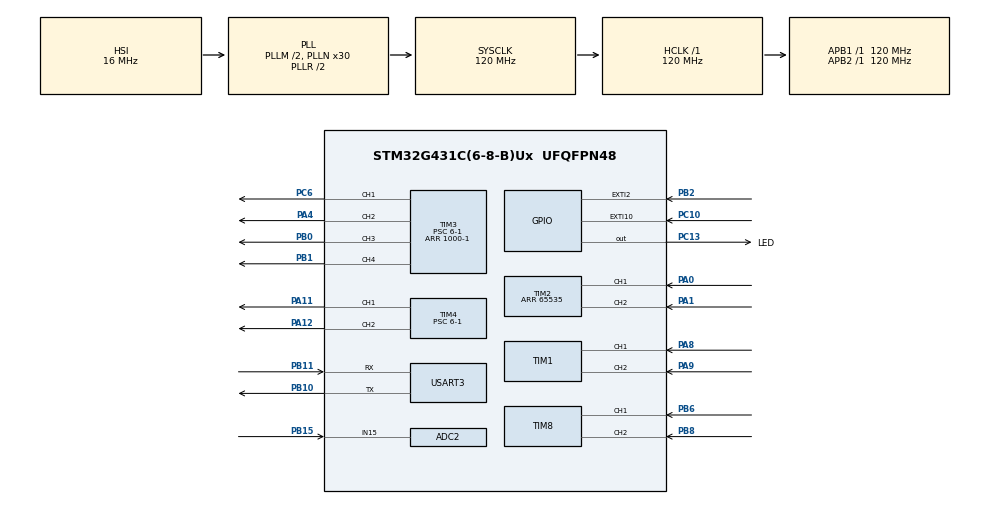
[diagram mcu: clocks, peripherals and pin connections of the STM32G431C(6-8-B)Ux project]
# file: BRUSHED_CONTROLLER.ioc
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ADC2.Channel-0\#ChannelRegularConversion=ADC_CHANNEL_15
ADC2.NbrOfConversionFlag=1
ADC2.OffsetNumber-0\#ChannelRegularConversion=ADC_OFFSET_NONE
ADC2.Rank-0\#ChannelRegularConversion=1
ADC2.SamplingTime-0\#ChannelRegularConversion=ADC_SAMPLETIME_92CYCLES_5
Dma.ADC2.0.Direction=DMA_PERIPH_TO_MEMORY
Dma.ADC2.0.EventEnable=DISABLE
Dma.ADC2.0.Instance=DMA1_Channel1
Dma.ADC2.0.MemDataAlignment=DMA_MDATAALIGN_HALFWORD
Dma.ADC2.0.MemInc=DMA_MINC_ENABLE
Dma.ADC2.0.Mode=DMA_CIRCULAR
Dma.ADC2.0.PeriphDataAlignment=DMA_PDATAALIGN_HALFWORD
Dma.ADC2.0.PeriphInc=DMA_PINC_DISABLE
Dma.ADC2.0.Polarity=HAL_DMAMUX_REQ_GEN_RISING
Dma.ADC2.0.Priority=DMA_PRIORITY_LOW
Dma.ADC2.0.RequestNumber=1
Dma.ADC2.0.SignalID=NONE
Dma.ADC2.0.SyncEnable=DISABLE
Dma.ADC2.0.SyncPolarity=HAL_DMAMUX_SYNC_NO_EVENT
Dma.ADC2.0.SyncRequestNumber=1
Dma.ADC2.0.SyncSignalID=NONE
Dma.Request0=ADC2
Dma.Request1=USART3_RX
Dma.Request2=USART3_TX
Dma.USART3_RX.1.Direction=DMA_PERIPH_TO_MEMORY
Dma.USART3_RX.1.EventEnable=DISABLE
Dma.USART3_RX.1.Instance=DMA1_Channel2
Dma.USART3_RX.1.MemDataAlignment=DMA_MDATAALIGN_BYTE
Dma.USART3_RX.1.MemInc=DMA_MINC_ENABLE
Dma.USART3_RX.1.Mode=DMA_CIRCULAR
Dma.USART3_RX.1.PeriphDataAlignment=DMA_PDATAALIGN_BYTE
Dma.USART3_RX.1.PeriphInc=DMA_PINC_DISABLE
Dma.USART3_RX.1.Polarity=HAL_DMAMUX_REQ_GEN_RISING
Dma.USART3_RX.1.Priority=DMA_PRIORITY_LOW
Dma.USART3_RX.1.RequestNumber=1
Dma.USART3_RX.1.SignalID=NONE
Dma.USART3_RX.1.SyncEnable=DISABLE
Dma.USART3_RX.1.SyncPolarity=HAL_DMAMUX_SYNC_NO_EVENT
Dma.USART3_RX.1.SyncRequestNumber=1
Dma.USART3_RX.1.SyncSignalID=NONE
Dma.USART3_TX.2.Direction=DMA_MEMORY_TO_PERIPH
Dma.USART3_TX.2.EventEnable=DISABLE
Dma.USART3_TX.2.Instance=DMA1_Channel3
Dma.USART3_TX.2.MemDataAlignment=DMA_MDATAALIGN_BYTE
Dma.USART3_TX.2.MemInc=DMA_MINC_ENABLE
Dma.USART3_TX.2.Mode=DMA_NORMAL
Dma.USART3_TX.2.PeriphDataAlignment=DMA_PDATAALIGN_BYTE
Dma.USART3_TX.2.PeriphInc=DMA_PINC_DISABLE
Dma.USART3_TX.2.Polarity=HAL_DMAMUX_REQ_GEN_RISING
Dma.USART3_TX.2.Priority=DMA_PRIORITY_LOW
Dma.USART3_TX.2.RequestNumber=1
Dma.USART3_TX.2.SignalID=NONE
Dma.USART3_TX.2.SyncEnable=DISABLE
Dma.USART3_TX.2.SyncPolarity=HAL_DMAMUX_SYNC_NO_EVENT
Dma.USART3_TX.2.SyncRequestNumber=1
Dma.USART3_TX.2.SyncSignalID=NONE
FREERTOS.BinarySemaphores01=usart3txsem,Dynamic,NULL,Available;usart3rxsem,Dynamic,NULL,Available
FREERTOS.INCLUDE_vTaskDelayUntil=1
FREERTOS.Tasks01=COMtask,0,256,StartCOMTask,Default,NULL,Dynamic,NULL,NULL;PIDtask,2,512,StartPIDTask,Default,NULL,Dynamic,NULL,NULL
FREERTOS.configTOTAL_HEAP_SIZE=10000
FREERTOS.configUSE_NEWLIB_REENTRANT=1
Mcu.Family=STM32G4
Mcu.Name=STM32G431C(6-8-B)Ux
Mcu.Package=UFQFPN48
NVIC.DMA1_Channel1_IRQn=true\:5\:0\:false\:false\:true\:true\:false\:true\:true
NVIC.DMA1_Channel2_IRQn=true\:5\:0\:false\:false\:true\:true\:false\:true\:true
NVIC.DMA1_Channel3_IRQn=true\:5\:0\:false\:false\:true\:true\:false\:true\:true
NVIC.PriorityGroup=NVIC_PRIORITYGROUP_4
NVIC.TIM6_DAC_IRQn=true\:15\:0\:false\:false\:true\:false\:false\:true\:true
NVIC.TimeBase=TIM6_DAC_IRQn
NVIC.TimeBaseIP=TIM6
PA0.Signal=S_TIM2_CH1
PA1.Signal=S_TIM2_CH2
PA11.Signal=S_TIM4_CH1
PA12.Signal=S_TIM4_CH2
PA13.Mode=Serial_Wire
PA13.Signal=SYS_JTMS-SWDIO
PA14.Mode=Serial_Wire
PA14.Signal=SYS_JTCK-SWCLK
PA4.Signal=S_TIM3_CH2
PA8.Signal=S_TIM1_CH1
PA9.Signal=S_TIM1_CH2
PB0.Signal=S_TIM3_CH3
PB1.Signal=S_TIM3_CH4
PB10.Mode=Asynchronous
PB10.Signal=USART3_TX
PB11.Mode=Asynchronous
PB11.Signal=USART3_RX
PB15.Mode=IN15-Single-Ended
PB15.Signal=ADC2_IN15
PB2.Signal=GPXTI2
PB6.Signal=S_TIM8_CH1
PB8-BOOT0.Signal=S_TIM8_CH2
PC10.Signal=GPXTI10
PC13.GPIO_Label=LED
PC13.Signal=GPIO_Output
PC4.Signal=ADC2_IN5
PC6.Signal=S_TIM3_CH1
PF0-OSC_IN.Mode=HSE-External-Oscillator
PF0-OSC_IN.Signal=RCC_OSC_IN
PF1-OSC_OUT.Mode=HSE-External-Oscillator
PF1-OSC_OUT.Signal=RCC_OSC_OUT
ProjectManager.HeapSize=0x200
ProjectManager.StackSize=0x400
ProjectManager.TargetToolchain=STM32CubeIDE
RCC.ADC12Freq_Value=120000000
RCC.AHBFreq_Value=120000000
RCC.APB1Freq_Value=120000000
RCC.APB1TimFreq_Value=120000000
RCC.APB2Freq_Value=120000000
RCC.APB2TimFreq_Value=120000000
RCC.CortexFreq_Value=120000000
RCC.EXTERNAL_CLOCK_VALUE=12288000
RCC.HCLKFreq_Value=120000000
RCC.HSE_VALUE=24000000
RCC.HSI48_VALUE=48000000
RCC.HSI_VALUE=16000000
RCC.LSE_VALUE=32768
RCC.PLLM=RCC_PLLM_DIV2
RCC.PLLN=30
RCC.SYSCLKFreq_VALUE=120000000
RCC.SYSCLKSource=RCC_SYSCLKSOURCE_PLLCLK
RCC.USART3CLockSelection=RCC_USART3CLKSOURCE_HSI
RCC.USBFreq_Value=120000000
RCC.VCOOutputFreq_Value=240000000
SH.S_TIM1_CH1.0=TIM1_CH1,Encoder_Interface
SH.S_TIM1_CH2.0=TIM1_CH2,Encoder_Interface
SH.S_TIM2_CH1.0=TIM2_CH1,Encoder_Interface
SH.S_TIM2_CH2.0=TIM2_CH2,Encoder_Interface
SH.S_TIM3_CH1.0=TIM3_CH1,PWM Generation1 CH1
SH.S_TIM3_CH2.0=TIM3_CH2,PWM Generation2 CH2
SH.S_TIM3_CH3.0=TIM3_CH3,PWM Generation3 CH3
SH.S_TIM3_CH4.0=TIM3_CH4,PWM Generation4 CH4
SH.S_TIM4_CH1.0=TIM4_CH1,PWM Generation1 CH1
SH.S_TIM4_CH2.0=TIM4_CH2,PWM Generation2 CH2
SH.S_TIM8_CH1.0=TIM8_CH1,Encoder_Interface
SH.S_TIM8_CH2.0=TIM8_CH2,Encoder_Interface
TIM1.IC1Filter=4
TIM1.IC2Filter=4
TIM2.IC1Filter=4
TIM2.IC2Filter=4
TIM2.PeriodNoDither=65535
TIM3.AutoReloadPreload=TIM_AUTORELOAD_PRELOAD_ENABLE
TIM3.Channel-PWM\ Generation1\ CH1=TIM_CHANNEL_1
TIM3.Channel-PWM\ Generation2\ CH2=TIM_CHANNEL_2
TIM3.Channel-PWM\ Generation3\ CH3=TIM_CHANNEL_3
TIM3.Channel-PWM\ Generation4\ CH4=TIM_CHANNEL_4
TIM3.PeriodNoDither=1000-1
TIM3.Prescaler=6-1
TIM4.Channel-PWM\ Generation1\ CH1=TIM_CHANNEL_1
TIM4.Channel-PWM\ Generation2\ CH2=TIM_CHANNEL_2
TIM4.PeriodNoDither=1000-1
TIM4.Prescaler=6-1
TIM8.IC1Filter=4
TIM8.IC2Filter=4
USART3.VirtualMode-Asynchronous=VM_ASYNC
VP_FREERTOS_VS_CMSIS_V1.Mode=CMSIS_V1
VP_SYS_VS_DBSignals.Mode=DisableDeadBatterySignals
VP_SYS_VS_tim6.Mode=TIM6
VP_TIM3_VS_ClockSourceINT.Mode=Internal
VP_TIM4_VS_ClockSourceINT.Mode=Internal
board=custom

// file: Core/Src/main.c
/* USER CODE BEGIN Header */
/**
  ******************************************************************************
  * @file           : main.c
  * @brief          : Main program body
  ******************************************************************************
  * @attention
  *
  * Copyright (c) 2025 STMicroelectronics.
  * All rights reserved.
  *
  * This software is licensed under terms that can be found in the LICENSE file
  * in the root directory of this software component.
  * If no LICENSE file comes with this software, it is provided AS-IS.
  *
  ******************************************************************************
  */
/* USER CODE END Header */
#include "main.h"
#include "cmsis_os.h"
#include "adc.h"
#include "dma.h"
#include "tim.h"
#include "usart.h"
#include "gpio.h"

/* USER CODE BEGIN Includes */
#include "mcc_control.h"
/* USER CODE END Includes */

/* USER CODE BEGIN PV */
Motor_t g_motors[3];
uint8_t uart_rx_buf[256];
uint8_t uart_tx_buf[128];
/* USER CODE END PV */

void SystemClock_Config(void);
void MX_FREERTOS_Init(void);

int main(void)
{

  /* MCU Configuration--------------------------------------------------------*/

  /* Reset of all peripherals, Initializes the Flash interface and the Systick. */
  HAL_Init();

  /* Configure the system clock */
  SystemClock_Config();

  /* Initialize all configured peripherals */
  MX_GPIO_Init();
  MX_DMA_Init();
  MX_TIM1_Init();
  MX_TIM2_Init();
  MX_TIM3_Init();
  MX_TIM4_Init();
  MX_TIM8_Init();
  MX_USART3_UART_Init();
  MX_ADC2_Init();
  /* USER CODE BEGIN 2 */

  while(1){

	  HAL_GPIO_TogglePin(GPIOC,GPIO_PIN_13);
	  HAL_Delay(100);
  }

  App_InitMotors();

  /* USER CODE END 2 */

  /* Call init function for freertos objects (in cmsis_os2.c) */
  MX_FREERTOS_Init();

  /* Start scheduler */
  osKernelStart();

  /* We should never get here as control is now taken by the scheduler */

  /* Infinite loop */
  while (1)
  {

  }
}

void SystemClock_Config(void)
{
  RCC_OscInitTypeDef RCC_OscInitStruct = {0};
  RCC_ClkInitTypeDef RCC_ClkInitStruct = {0};

  /** Configure the main internal regulator output voltage
  */
  HAL_PWREx_ControlVoltageScaling(PWR_REGULATOR_VOLTAGE_SCALE1);

  /** Initializes the RCC Oscillators according to the specified parameters
  * in the RCC_OscInitTypeDef structure.
  */
  RCC_OscInitStruct.OscillatorType = RCC_OSCILLATORTYPE_HSI;
  RCC_OscInitStruct.HSIState = RCC_HSI_ON;
  RCC_OscInitStruct.HSICalibrationValue = RCC_HSICALIBRATION_DEFAULT;
  RCC_OscInitStruct.PLL.PLLState = RCC_PLL_ON;
  RCC_OscInitStruct.PLL.PLLSource = RCC_PLLSOURCE_HSI;
  RCC_OscInitStruct.PLL.PLLM = RCC_PLLM_DIV2;
  RCC_OscInitStruct.PLL.PLLN = 30;
  RCC_OscInitStruct.PLL.PLLP = RCC_PLLP_DIV2;
  RCC_OscInitStruct.PLL.PLLQ = RCC_PLLQ_DIV2;
  RCC_OscInitStruct.PLL.PLLR = RCC_PLLR_DIV2;
  if (HAL_RCC_OscConfig(&RCC_OscInitStruct) != HAL_OK)
  {
    Error_Handler();
  }

  /** Initializes the CPU, AHB and APB buses clocks
  */
  RCC_ClkInitStruct.ClockType = RCC_CLOCKTYPE_HCLK|RCC_CLOCKTYPE_SYSCLK
                              |RCC_CLOCKTYPE_PCLK1|RCC_CLOCKTYPE_PCLK2;
  RCC_ClkInitStruct.SYSCLKSource = RCC_SYSCLKSOURCE_PLLCLK;
  RCC_ClkInitStruct.AHBCLKDivider = RCC_SYSCLK_DIV1;
  RCC_ClkInitStruct.APB1CLKDivider = RCC_HCLK_DIV1;
  RCC_ClkInitStruct.APB2CLKDivider = RCC_HCLK_DIV1;

  if (HAL_RCC_ClockConfig(&RCC_ClkInitStruct, FLASH_LATENCY_3) != HAL_OK)
  {
    Error_Handler();
  }
}

void HAL_TIM_PeriodElapsedCallback(TIM_HandleTypeDef *htim)
{
  if (htim->Instance == TIM6)
  {
    HAL_IncTick();
  }
}

void Error_Handler(void)
{
  __disable_irq();
  while (1)
  {
  }
}

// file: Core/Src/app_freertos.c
/* USER CODE BEGIN Header */
/**
  ******************************************************************************
  * File Name          : app_freertos.c
  * Description        : Code for freertos applications
  ******************************************************************************
  * @attention
  *
  * Copyright (c) 2025 STMicroelectronics.
  * All rights reserved.
  *
  * This software is licensed under terms that can be found in the LICENSE file
  * in the root directory of this software component.
  * If no LICENSE file comes with this software, it is provided AS-IS.
  *
  ******************************************************************************
  */
/* USER CODE END Header */

#include "FreeRTOS.h"
#include "task.h"
#include "main.h"
#include "cmsis_os.h"

/* USER CODE BEGIN Includes */
#include "mcc_control.h"
#include "usart.h"
/* USER CODE END Includes */

/* USER CODE BEGIN Variables */
extern Motor_t g_motors[3];
extern uint8_t uart_rx_buf[256];
extern uint8_t uart_tx_buf[128];
/* USER CODE END Variables */
osThreadId COMtaskHandle;
osThreadId PIDtaskHandle;
osSemaphoreId usart3txsemHandle;
osSemaphoreId usart3rxsemHandle;

void StartCOMTask(void const * argument);
void StartPIDTask(void const * argument);

void MX_FREERTOS_Init(void); /* (MISRA C 2004 rule 8.1) */

void MX_FREERTOS_Init(void) {

  /* Create the semaphores(s) */
  /* definition and creation of usart3txsem */
  osSemaphoreDef(usart3txsem);
  usart3txsemHandle = osSemaphoreCreate(osSemaphore(usart3txsem), 1);

  /* definition and creation of usart3rxsem */
  osSemaphoreDef(usart3rxsem);
  usart3rxsemHandle = osSemaphoreCreate(osSemaphore(usart3rxsem), 1);

  /* Create the thread(s) */
  /* definition and creation of COMtask */
  osThreadDef(COMtask, StartCOMTask, osPriorityNormal, 0, 256);
  COMtaskHandle = osThreadCreate(osThread(COMtask), NULL);

  /* definition and creation of PIDtask */
  osThreadDef(PIDtask, StartPIDTask, osPriorityHigh, 0, 512);
  PIDtaskHandle = osThreadCreate(osThread(PIDtask), NULL);

}

void StartCOMTask(void const * argument)
{
  /* USER CODE BEGIN StartCOMTask */

	TickType_t lastWakeTime = xTaskGetTickCount();

	int i=0;
  /* Infinite loop */
  for(;;)
  {

	  //osSemaphoreWait(usart3txsemHandle, 100);
	  //int len = snprintf((uint8_t *) uart_tx_buf, 128, "test %d", i++);
	  //HAL_UART_Transmit_DMA(&huart3,(uint8_t *) uart_tx_buf, len);

	  HAL_GPIO_TogglePin(GPIOC,GPIO_PIN_13);
	  vTaskDelayUntil(&lastWakeTime,pdMS_TO_TICKS(100));
  }
  /* USER CODE END StartCOMTask */
}

void StartPIDTask(void const * argument)
{
  /* USER CODE BEGIN StartPIDTask */
    const TickType_t periodTicks = pdMS_TO_TICKS(MOTOR_CTRL_PERIOD_MS);
    TickType_t lastWakeTime = xTaskGetTickCount();
    const float dt = (float)MOTOR_CTRL_PERIOD_MS / 1000.0f;
  /* Infinite loop */
  for(;;)
  {
	  MotorControlTask(dt);

	  vTaskDelayUntil(&lastWakeTime, periodTicks);
  }
  /* USER CODE END StartPIDTask */
}
